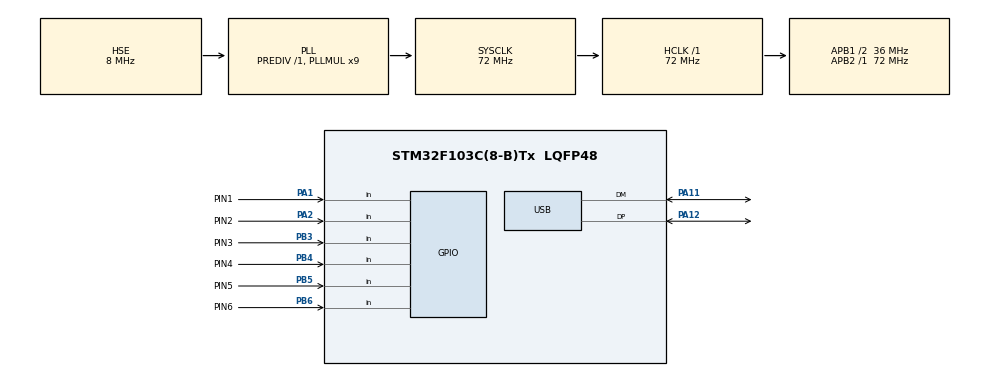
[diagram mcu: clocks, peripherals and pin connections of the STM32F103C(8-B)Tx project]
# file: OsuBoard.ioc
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Mcu.Family=STM32F1
Mcu.Name=STM32F103C(8-B)Tx
Mcu.Package=LQFP48
NVIC.PriorityGroup=NVIC_PRIORITYGROUP_4
NVIC.USB_LP_CAN1_RX0_IRQn=true\:0\:0\:false
PA1.GPIO_Label=PIN1
PA1.GPIO_PuPd=GPIO_PULLUP
PA1.Signal=GPIO_Input
PA11.Mode=Device
PA11.Signal=USB_DM
PA12.Mode=Device
PA12.Signal=USB_DP
PA2.GPIO_Label=PIN2
PA2.GPIO_Mode=GPIO_MODE_INPUT
PA2.GPIO_PuPd=GPIO_PULLUP
PA2.Signal=GPIO_Input
PB3.GPIO_Label=PIN3
PB3.GPIO_Mode=GPIO_MODE_INPUT
PB3.GPIO_PuPd=GPIO_PULLUP
PB3.Signal=GPIO_Input
PB4.GPIO_Label=PIN4
PB4.GPIO_Mode=GPIO_MODE_INPUT
PB4.GPIO_PuPd=GPIO_PULLUP
PB4.Signal=GPIO_Input
PB5.GPIO_Label=PIN5
PB5.GPIO_Mode=GPIO_MODE_INPUT
PB5.GPIO_PuPd=GPIO_PULLUP
PB5.Signal=GPIO_Input
PB6.GPIO_Label=PIN6
PB6.GPIO_Mode=GPIO_MODE_INPUT
PB6.GPIO_PuPd=GPIO_PULLUP
PB6.Signal=GPIO_Input
PD0-OSC_IN.Mode=HSE-External-Oscillator
PD0-OSC_IN.Signal=RCC_OSC_IN
PD1-OSC_OUT.Mode=HSE-External-Oscillator
PD1-OSC_OUT.Signal=RCC_OSC_OUT
ProjectManager.TargetToolchain=MDK-ARM V5
RCC.AHBFreq_Value=72000000
RCC.APB1CLKDivider=RCC_HCLK_DIV2
RCC.APB1Freq_Value=36000000
RCC.APB1TimFreq_Value=72000000
RCC.APB2Freq_Value=72000000
RCC.APB2TimFreq_Value=72000000
RCC.HCLKFreq_Value=72000000
RCC.HSIState=RCC_HSI_ON
RCC.PLLMUL=RCC_PLL_MUL9
RCC.SYSCLKFreq_VALUE=72000000
RCC.SYSCLKSource=RCC_SYSCLKSOURCE_PLLCLK
RCC.USBFreq_Value=48000000
RCC.USBPrescaler=RCC_USBPLLCLK_DIV1_5
USB_DEVICE.USBD_HandleTypeDef=hUsbDeviceFS
USB_DEVICE.VirtualMode=Hid
USB_DEVICE.VirtualModeFS=Hid_FS
VP_USB_DEVICE_VS_USB_DEVICE_HID_FS.Mode=HID_FS
board=OsuBoard

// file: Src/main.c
/**
  ******************************************************************************
  * File Name          : main.c
  * Description        : Main program body
  ******************************************************************************
  *
  * COPYRIGHT(c) 2016 STMicroelectronics
  *
  * Redistribution and use in source and binary forms, with or without modification,
  * are permitted provided that the following conditions are met:
  *   1. Redistributions of source code must retain the above copyright notice,
  *      this list of conditions and the following disclaimer.
  *   2. Redistributions in binary form must reproduce the above copyright notice,
  *      this list of conditions and the following disclaimer in the documentation
  *      and/or other materials provided with the distribution.
  *   3. Neither the name of STMicroelectronics nor the names of its contributors
  *      may be used to endorse or promote products derived from this software
  *      without specific prior written permission.
  *
  * THIS SOFTWARE IS PROVIDED BY THE COPYRIGHT HOLDERS AND CONTRIBUTORS "AS IS"
  * AND ANY EXPRESS OR IMPLIED WARRANTIES, INCLUDING, BUT NOT LIMITED TO, THE
  * IMPLIED WARRANTIES OF MERCHANTABILITY AND FITNESS FOR A PARTICULAR PURPOSE ARE
  * DISCLAIMED. IN NO EVENT SHALL THE COPYRIGHT HOLDER OR CONTRIBUTORS BE LIABLE
  * FOR ANY DIRECT, INDIRECT, INCIDENTAL, SPECIAL, EXEMPLARY, OR CONSEQUENTIAL
  * DAMAGES (INCLUDING, BUT NOT LIMITED TO, PROCUREMENT OF SUBSTITUTE GOODS OR
  * SERVICES; LOSS OF USE, DATA, OR PROFITS; OR BUSINESS INTERRUPTION) HOWEVER
  * CAUSED AND ON ANY THEORY OF LIABILITY, WHETHER IN CONTRACT, STRICT LIABILITY,
  * OR TORT (INCLUDING NEGLIGENCE OR OTHERWISE) ARISING IN ANY WAY OUT OF THE USE
  * OF THIS SOFTWARE, EVEN IF ADVISED OF THE POSSIBILITY OF SUCH DAMAGE.
  *
  ******************************************************************************
  */
#include "stm32f1xx_hal.h"
#include "usb_device.h"

/* USER CODE BEGIN Includes */
#include "usbd_hid.h"
/* USER CODE END Includes */

/* USER CODE BEGIN PV */
/* Private variables ---------------------------------------------------------*/

/* USER CODE END PV */

void SystemClock_Config(void);
static void MX_GPIO_Init(void);

/* USER CODE BEGIN PFP */
/* Private function prototypes -----------------------------------------------*/

/* USER CODE END PFP */

/* USER CODE BEGIN 0 */
void SendButtons(_Bool a, _Bool b) {
	static uint8_t rep[] = {0x00, 0x00, 0x00, 0x00, 0x00, 0x00, 0x00, 0x00};
	if( a )
		rep[3] = 0x04;
	else
		rep[3] = 0x00;
	if( b )
		rep[4] = 0x05;
	else
		rep[4] = 0x00;
	USBD_HID_SendReport(&hUsbDeviceFS, rep, 8);
	HAL_Delay(10);
}
/* USER CODE END 0 */

int main(void)
{

  /* MCU Configuration----------------------------------------------------------*/

  /* Reset of all peripherals, Initializes the Flash interface and the Systick. */
  HAL_Init();

  /* Configure the system clock */
  SystemClock_Config();

  /* Initialize all configured peripherals */
  MX_GPIO_Init();
  MX_USB_DEVICE_Init();

  /* Infinite loop */
  /* USER CODE BEGIN WHILE */
	_Bool prev_a = ! HAL_GPIO_ReadPin(PIN1_GPIO_Port, PIN1_Pin), prev_b = ! HAL_GPIO_ReadPin(PIN2_GPIO_Port, PIN2_Pin);
	SendButtons(0, 0);
	uint8_t rep[] = {0x00, 0x00, 0x00, 0x00, 0x00, 0x00, 0x00, 0x00};
  while (1)
  {
  /* USER CODE END WHILE */

  /* USER CODE BEGIN 3 */
		_Bool a = ! HAL_GPIO_ReadPin(PIN1_GPIO_Port, PIN1_Pin);
		_Bool b = ! HAL_GPIO_ReadPin(PIN2_GPIO_Port, PIN2_Pin);
		if( a != prev_a || b != prev_b ) {
			SendButtons(a, b);
			prev_a = a;
			prev_b = b;
		}
  }
  /* USER CODE END 3 */

}

/** System Clock Configuration
*/
void SystemClock_Config(void)
{

  RCC_OscInitTypeDef RCC_OscInitStruct;
  RCC_ClkInitTypeDef RCC_ClkInitStruct;
  RCC_PeriphCLKInitTypeDef PeriphClkInit;

  RCC_OscInitStruct.OscillatorType = RCC_OSCILLATORTYPE_HSE;
  RCC_OscInitStruct.HSEState = RCC_HSE_ON;
  RCC_OscInitStruct.HSEPredivValue = RCC_HSE_PREDIV_DIV1;
  RCC_OscInitStruct.PLL.PLLState = RCC_PLL_ON;
  RCC_OscInitStruct.PLL.PLLSource = RCC_PLLSOURCE_HSE;
  RCC_OscInitStruct.PLL.PLLMUL = RCC_PLL_MUL9;
  HAL_RCC_OscConfig(&RCC_OscInitStruct);

  RCC_ClkInitStruct.ClockType = RCC_CLOCKTYPE_SYSCLK|RCC_CLOCKTYPE_PCLK1;
  RCC_ClkInitStruct.SYSCLKSource = RCC_SYSCLKSOURCE_PLLCLK;
  RCC_ClkInitStruct.AHBCLKDivider = RCC_SYSCLK_DIV1;
  RCC_ClkInitStruct.APB1CLKDivider = RCC_HCLK_DIV2;
  RCC_ClkInitStruct.APB2CLKDivider = RCC_HCLK_DIV1;
  HAL_RCC_ClockConfig(&RCC_ClkInitStruct, FLASH_LATENCY_2);

  PeriphClkInit.PeriphClockSelection = RCC_PERIPHCLK_USB;
  PeriphClkInit.UsbClockSelection = RCC_USBPLLCLK_DIV1_5;
  HAL_RCCEx_PeriphCLKConfig(&PeriphClkInit);

  HAL_SYSTICK_Config(HAL_RCC_GetHCLKFreq()/1000);

  HAL_SYSTICK_CLKSourceConfig(SYSTICK_CLKSOURCE_HCLK);

  /* SysTick_IRQn interrupt configuration */
  HAL_NVIC_SetPriority(SysTick_IRQn, 0, 0);
}

/** Configure pins as
        * Analog
        * Input
        * Output
        * EVENT_OUT
        * EXTI
*/
void MX_GPIO_Init(void)
{

  GPIO_InitTypeDef GPIO_InitStruct;

  /* GPIO Ports Clock Enable */
  __GPIOD_CLK_ENABLE();
  __GPIOA_CLK_ENABLE();
  __GPIOB_CLK_ENABLE();

  /*Configure GPIO pins : PIN1_Pin PIN2_Pin */
  GPIO_InitStruct.Pin = PIN1_Pin|PIN2_Pin;
  GPIO_InitStruct.Mode = GPIO_MODE_INPUT;
  GPIO_InitStruct.Pull = GPIO_PULLUP;
  HAL_GPIO_Init(GPIOA, &GPIO_InitStruct);

  /*Configure GPIO pins : PIN3_Pin PIN4_Pin PIN5_Pin PIN6_Pin */
  GPIO_InitStruct.Pin = PIN3_Pin|PIN4_Pin|PIN5_Pin|PIN6_Pin;
  GPIO_InitStruct.Mode = GPIO_MODE_INPUT;
  GPIO_InitStruct.Pull = GPIO_PULLUP;
  HAL_GPIO_Init(GPIOB, &GPIO_InitStruct);

}

/************************ (C) COPYRIGHT STMicroelectronics *****END OF FILE****/
